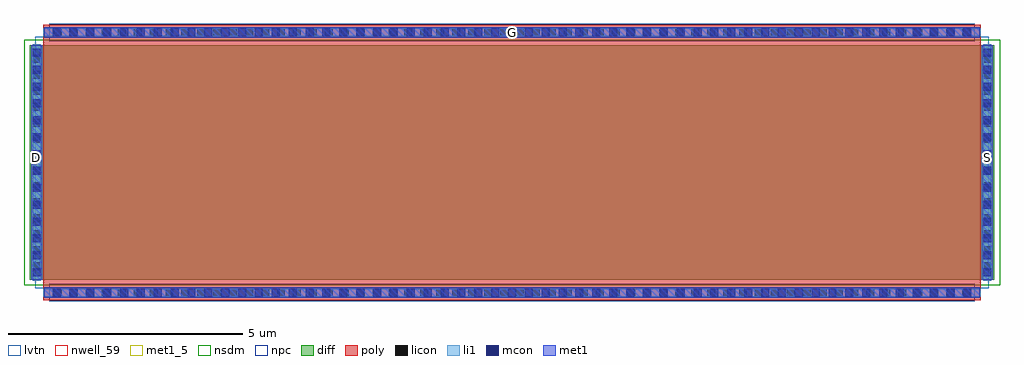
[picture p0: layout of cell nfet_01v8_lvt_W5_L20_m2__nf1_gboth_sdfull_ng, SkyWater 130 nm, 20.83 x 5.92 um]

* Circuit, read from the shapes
.subckt nfet_01v8_lvt_W5_L20_m2__nf1_gboth_sdfull_ng B D G S
XM1 S G D B sky130_fd_pr__nfet_01v8_lvt w=5 l=20
.ends

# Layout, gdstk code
import gdstk
lib = gdstk.Library(unit=1e-6, precision=1e-09)
def R(c, l, rs):  # rectangles x0, y0, x1, y1
    for r in rs: c.add(gdstk.rectangle(r[:2], r[2:], *l))
def A(c, l, x, y, w, h, nx, ny, dx, dy):  # array of equal rectangles
    R(c, l, [(x+i*dx, y+j*dy, x+i*dx+w, y+j*dy+h) for i in range(nx) for j in range(ny)])
nwell_59 = (64, 59)
diff = (65, 20)
poly = (66, 20)
licon = (66, 44)
li1 = (67, 20)
mcon = (67, 44)
met1_5 = (68, 5)
met1 = (68, 20)
nsdm = (93, 44)
npc = (95, 20)
lvtn = (125, 44)

sky130_fd_pr__nfet_01v8_ = lib.new_cell('sky130_fd_pr__nfet_01v8_lvt_KUHQTA')
R(sky130_fd_pr__nfet_01v8_, diff, [(-10.29,-2.5,10.29,2.5)])
R(sky130_fd_pr__nfet_01v8_, poly, [(-10,-2.94,10,2.94)])
A(sky130_fd_pr__nfet_01v8_, licon, -9.775, -2.86, 0.17, 0.17, 58, 2, 0.34, 5.55)
A(sky130_fd_pr__nfet_01v8_, licon, -10.23, -2.295, 0.17, 0.17, 1, 14, 0, 0.34)
A(sky130_fd_pr__nfet_01v8_, licon, 10.06, -2.295, 0.17, 0.17, 1, 14, 0, 0.34)
R(sky130_fd_pr__nfet_01v8_, li1, [(-10,-2.86,10,-2.69), (-10.23,-2.52,-10.06,2.52), (10.06,-2.52,10.23,2.52), (-10,2.69,10,2.86)])
A(sky130_fd_pr__nfet_01v8_, mcon, -9.805, -2.86, 0.17, 0.17, 55, 2, 0.36, 5.55)
A(sky130_fd_pr__nfet_01v8_, mcon, -10.23, -2.425, 0.17, 0.17, 1, 14, 0, 0.36)
A(sky130_fd_pr__nfet_01v8_, mcon, 10.06, -2.425, 0.17, 0.17, 1, 14, 0, 0.36)
R(sky130_fd_pr__nfet_01v8_, met1, [(-9.98,-2.89,9.98,-2.66), (-10.26,-2.5,-10.03,2.5), (10.03,-2.5,10.26,2.5), (-9.98,2.66,9.98,2.89)])
R(sky130_fd_pr__nfet_01v8_, nsdm, [(-10.415,-2.625,10.415,2.625)])
R(sky130_fd_pr__nfet_01v8_, npc, [(-9.875,-2.96,9.875,-2.59), (-9.875,2.59,9.875,2.96)])
R(sky130_fd_pr__nfet_01v8_, lvtn, [(-10.18,-2.68,10.18,2.68)])
sky130_fd_pr__nfet_01v8_.add(gdstk.Label('D', (-10.145,0), layer=67, texttype=5))
sky130_fd_pr__nfet_01v8_.add(gdstk.Label('S', (10.145,0), layer=67, texttype=5))
sky130_fd_pr__nfet_01v8_.add(gdstk.Label('G', (0,2.775), layer=67, texttype=5))

nfet_01v8_lvt_w5_l20_m2_ = lib.new_cell('nfet_01v8_lvt_W5_L20_m2__nf1_gboth_sdfull_ng')
R(nfet_01v8_lvt_w5_l20_m2_, nwell_59, [(0.05,2.89,0.15,2.99)])
R(nfet_01v8_lvt_w5_l20_m2_, met1_5, [(0.03,2.94,0.26,3.14), (20.32,2.94,20.55,3.14), (0.31,5.6,20.27,5.83)])
R(nfet_01v8_lvt_w5_l20_m2_, met1, [(0.03,2.94,0.26,3.14), (20.32,2.94,20.55,3.14), (0.31,5.6,20.27,5.83)])
nfet_01v8_lvt_w5_l20_m2_.add(gdstk.Reference(sky130_fd_pr__nfet_01v8_, (10.29,2.94)))
nfet_01v8_lvt_w5_l20_m2_.add(gdstk.Label('D', (0.145,3.04), layer=68, texttype=5))
nfet_01v8_lvt_w5_l20_m2_.add(gdstk.Label('S', (20.435,3.04), layer=68, texttype=5))
nfet_01v8_lvt_w5_l20_m2_.add(gdstk.Label('G', (10.29,5.715), layer=68, texttype=5))
nfet_01v8_lvt_w5_l20_m2_.add(gdstk.Label('B', (0.1,2.94), layer=64, texttype=59))

lib.write_gds('nfet_01v8_lvt_W5_L20_m2__nf1_gboth_sdfull_ng.gds')
